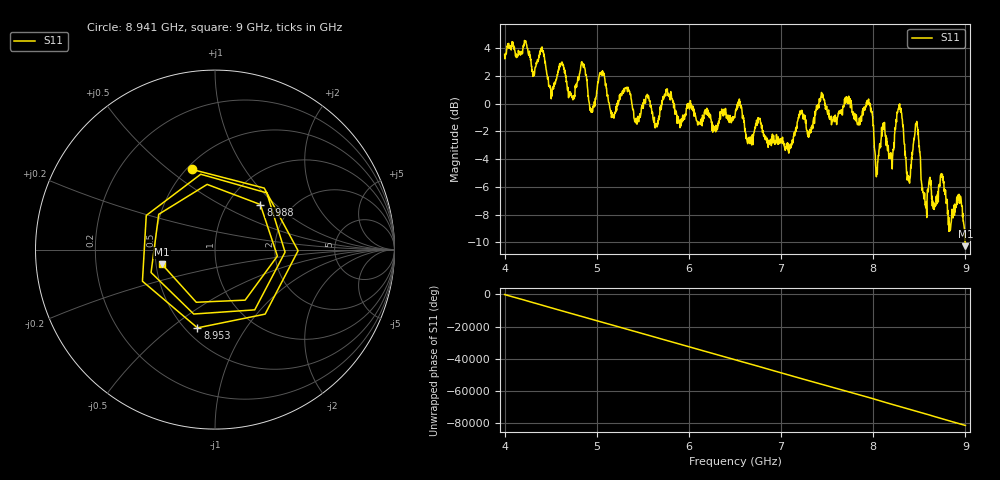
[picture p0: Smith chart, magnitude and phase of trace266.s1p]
! Created with skrf 1.8.0 (http://scikit-rf.org).
# Hz S RI R 50.0
!freq ReS11 ImS11
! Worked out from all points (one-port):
!   1601 points, 4 GHz to 9 GHz, reference 50 ohm
!   lowest |S11| = -10.3 dB at 9 GHz (marker M1), VSWR 1.88, Z = 26.9 - j4.86 ohm
!   |S11| at or under -10 dB: 8.996098 GHz to end of sweep
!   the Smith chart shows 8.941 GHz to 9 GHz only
!   S11 on the Smith chart (normalised r, x): 8.941 GHz: 0.53, +0.61; 8.953 GHz: 0.57, -0.63; 8.988 GHz: 1.40, +0.81; 9 GHz: 0.54, -0.10
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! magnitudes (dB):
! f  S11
! 4 GHz  3.6
! 4.406 GHz  4.1
! 4.506 GHz  0.3
! 4.625 GHz  3.0
! 4.738 GHz  0.4
! 4.853 GHz  2.7
! 4.944 GHz  -0.4
! 5.05 GHz  2.2
! 5.166 GHz  -0.6
! 5.25 GHz  0.3
! 5.875 GHz  -0.9
! 6.5 GHz  -0.9
! 7.125 GHz  -2.9
! 7.438 GHz  0.8
! 7.75 GHz  0.4
! 7.966 GHz  -0.2
! 8.041 GHz  -4.9
! 8.112 GHz  -1.9
! 8.203 GHz  -3.9
! 8.288 GHz  0.0
! 8.375 GHz  -5.2
! 8.469 GHz  -1.5
! 8.559 GHz  -6.5
! 8.841 GHz  -8.8
! 8.941 GHz  -6.7
! 8.953 GHz  -7.0
! 8.988 GHz  -9.0
! 9 GHz  -10.3
